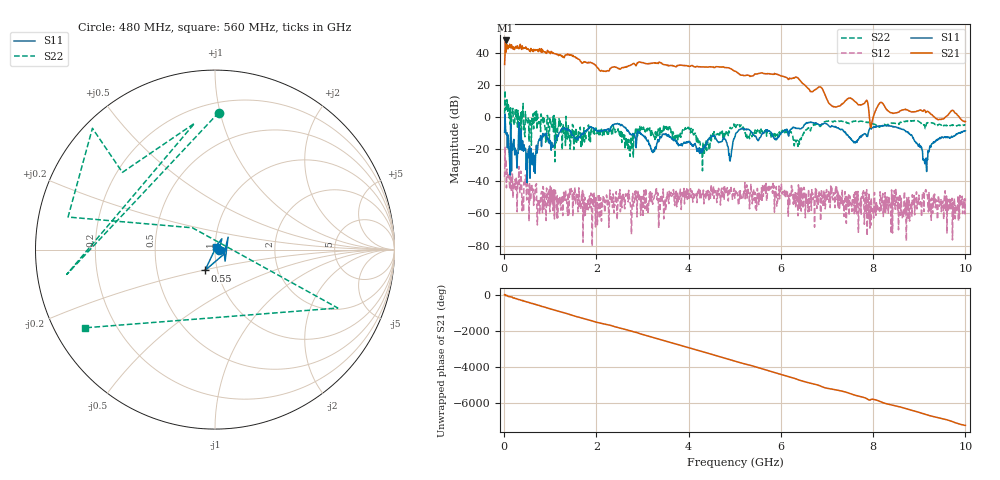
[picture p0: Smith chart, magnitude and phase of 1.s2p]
#  HZ  S  DB  R  50.00
! Rohde & Schwarz ZVA24 2Ports - Version 3.90 - 1145.1110k24 SN: 100222
! Date: 2019-05-10 15:20:51
! Measurements: S11 S21 S12 S22
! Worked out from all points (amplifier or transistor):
!   1000 points, 10 MHz to 10 GHz, reference 50 ohm
!   highest |S21| = 48.1 dB at 30 MHz (marker M1)
!   |S21| within 3 dB of that: 58.83 MHz to 71.08 MHz (12.25 MHz wide, 18.9 % of centre)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
!   unconditionally stable (mu >= 1): 1.112 GHz to 1.186 GHz; 1.214 GHz to 1.331 GHz; 1.454 GHz to end of sweep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
!   at 1.67 GHz: K = 4.89, MAG = 35.0 dB, |S12| = -55.2 dB
!   at 5.01 GHz: K = 2.62, MAG = 31.1 dB, |S12| = -47.4 dB
!   at 10 GHz: K = 128.22, MAG = -0.1 dB, |S12| = -50.6 dB
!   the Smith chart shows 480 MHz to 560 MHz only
!   S11 on the Smith chart (normalised r, x): 480 MHz: 1.05, -0.01; 550 MHz: 0.87, -0.21; 560 MHz: 1.01, +0.02
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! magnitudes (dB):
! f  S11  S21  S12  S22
! 10 MHz  -9.3  33.1  -37.3  2.4
! 30 MHz  -6.7  48.1  -30.3  4.5
! 480 MHz  -32.8  43.0  -46.9  -2.3
! 550 MHz  -17.8  41.5  -41.4  -2.4
! 560 MHz  -38.0  41.7  -51.8  -1.4
! 870 MHz  -11.0  40.9  -50.8  -1.0
! 1.68 GHz  -10.8  34.1  -47.6  -12.3
! 2.45 GHz  -3.9  31.1  -63.9  -7.3
! 2.71 GHz  -9.4  32.3  -49.2  -20.5
! 3.34 GHz  -14.6  33.6  -47.8  -7.2
! 3.97 GHz  -15.5  32.2  -51.2  -6.2
! 4.31 GHz  -20.0  31.6  -48.5  -16.1
! 4.53 GHz  -11.6  31.5  -45.9  -10.0
! 4.9 GHz  -27.3  30.6  -45.2  -6.2
! 5.01 GHz  -11.5  28.9  -47.4  -4.0
! 6.34 GHz  -6.8  25.0  -51.9  -14.8
! 6.67 GHz  -3.2  16.0  -45.2  -5.4
! 7.6 GHz  -15.8  10.0  -46.8  -2.3
! 7.97 GHz  -6.4  -3.6  -57.7  -4.0
! 8.34 GHz  -5.4  3.7  -49.2  -4.3
! 9.13 GHz  -27.3  4.0  -46.0  -7.0
! 10 GHz  -8.4  -2.5  -50.6  -4.7
